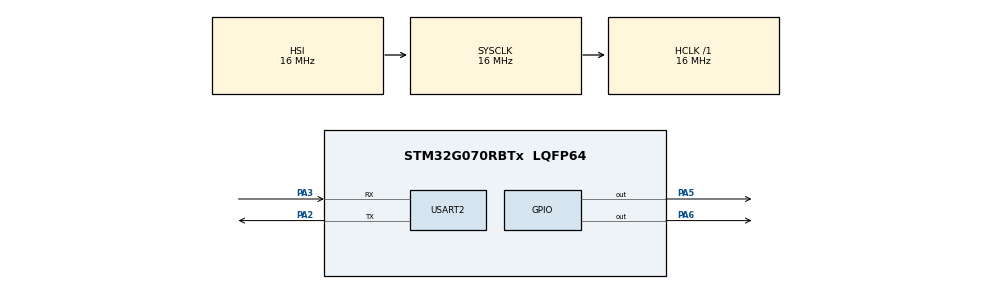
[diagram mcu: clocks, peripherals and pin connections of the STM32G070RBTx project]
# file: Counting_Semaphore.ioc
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Mcu.Family=STM32G0
Mcu.Name=STM32G070RBTx
Mcu.Package=LQFP64
NVIC.TIM3_IRQn=true\:3\:0\:false\:false\:true\:false\:true\:true
NVIC.TimeBase=TIM3_IRQn
NVIC.TimeBaseIP=TIM3
PA13.Mode=Serial_Wire
PA13.Signal=SYS_SWDIO
PA14-BOOT0.Mode=Serial_Wire
PA14-BOOT0.Signal=SYS_SWCLK
PA2.Mode=Asynchronous
PA2.Signal=USART2_TX
PA3.Mode=Asynchronous
PA3.Signal=USART2_RX
PA5.Signal=GPIO_Output
PA6.Signal=GPIO_Output
PC14-OSC32_IN\ (PC14).Mode=LSE-External-Oscillator
PC14-OSC32_IN\ (PC14).Signal=RCC_OSC32_IN
PC15-OSC32_OUT\ (PC15).Mode=LSE-External-Oscillator
PC15-OSC32_OUT\ (PC15).Signal=RCC_OSC32_OUT
PF0-OSC_IN\ (PF0).Mode=HSE-External-Clock-Source
PF0-OSC_IN\ (PF0).Signal=RCC_OSC_IN
ProjectManager.HeapSize=0x200
ProjectManager.StackSize=0x400
ProjectManager.TargetToolchain=STM32CubeIDE
RCC.AHBFreq_Value=16000000
RCC.CortexFreq_Value=16000000
RCC.EXTERNAL_CLOCK_VALUE=12288000
RCC.HCLKFreq_Value=16000000
RCC.HSE_VALUE=8000000
RCC.HSI_VALUE=16000000
RCC.SYSCLKFreq_VALUE=16000000
RCC.VCOOutputFreq_Value=128000000
USART2.VirtualMode-Asynchronous=VM_ASYNC
VP_SYS_VS_tim3.Mode=TIM3
board=NUCLEO-G070RB

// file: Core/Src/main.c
/* USER CODE BEGIN Header */
/**
  ******************************************************************************
  * @file           : main.c
  * @brief          : Main program body
  ******************************************************************************
  * @attention
  *
  * Copyright (c) 2023 STMicroelectronics.
  * All rights reserved.
  *
  * This software is licensed under terms that can be found in the LICENSE file
  * in the root directory of this software component.
  * If no LICENSE file comes with this software, it is provided AS-IS.
  *
  ******************************************************************************
  */
/* USER CODE END Header */
#include "main.h"

/* USER CODE BEGIN Includes */

#include "FreeRTOS.h"
#include "semphr.h"
#include "task.h"

/* USER CODE END Includes */

UART_HandleTypeDef huart2;

/* USER CODE BEGIN PV */
unsigned int count=0;
TaskHandle_t pt, ct;
SemaphoreHandle_t Count_sem;

/* USER CODE END PV */

void SystemClock_Config(void);
static void MX_GPIO_Init(void);
static void MX_USART2_UART_Init(void);
/* USER CODE BEGIN PFP */
void delay (unsigned int a);
static void ptask (void *p) ;
static void ctask (void *p) ;

/* USER CODE END PFP */

/* USER CODE BEGIN 0 */
void delay (unsigned int a)
{
unsigned int i,j;

for (i = 0 ; i < a ; i++)
	for (j = 0 ; j<5000 ;j++);
}

void transmit1 (void)
{
uint8_t data [] = "PTASK IS RUNNING\r\n";
HAL_UART_Transmit (&huart2, data, sizeof (data), 1000);
}

void transmit2 (void)
{
uint8_t data[] = "CTASK IS RUNNING\r\n";
HAL_UART_Transmit (&huart2, data, sizeof (data), 1000);
}

static void ptask (void *p)
{
while (1)
{
	HAL_GPIO_TogglePin (GPIOA, GPIO_PIN_5);
	delay (100) ;

transmit1 ();

if (count == 6)
{
	for(unsigned int c =0 ; c < 4 ; c++)
		xSemaphoreGive (Count_sem) ;
/*xSemaphoreGive (Count_sem) ;
xSemaphoreGive (Count_sem) ;
xSemaphoreGive (Count_sem) ;*/
}
count ++;
}
}

static void ctask (void *p)
{
uint8_t ret;
while (1)
{
ret = xSemaphoreTake (Count_sem, 100000) ;
if (ret)
{
HAL_GPIO_TogglePin (GPIOA, GPIO_PIN_6);
delay (100);
transmit2 ();

count = 0;
}
}
}

/* USER CODE END 0 */

int main(void)
{
  /* USER CODE BEGIN 1 */
	Count_sem = xSemaphoreCreateCounting (6, 0) ;

  /* USER CODE END 1 */

  /* MCU Configuration--------------------------------------------------------*/

  /* Reset of all peripherals, Initializes the Flash interface and the Systick. */
  HAL_Init();

  /* Configure the system clock */
  SystemClock_Config();

  /* Initialize all configured peripherals */
  MX_GPIO_Init();
  MX_USART2_UART_Init();
  /* USER CODE BEGIN 2 */
  xTaskCreate(ptask,"T1",500, NULL, 1, &pt);
  xTaskCreate(ctask,"T2",500, NULL, 2, &ct);
      //xTaskCreate(IDLE_TASK,"T3",200, NULL, 2, &t3);

      //xSemaphoreGive(BinSem);

    vTaskStartScheduler();

  /* USER CODE END 2 */

  /* Infinite loop */
  while (1)
  {

  }
}

void SystemClock_Config(void)
{
  RCC_OscInitTypeDef RCC_OscInitStruct = {0};
  RCC_ClkInitTypeDef RCC_ClkInitStruct = {0};

  /** Configure the main internal regulator output voltage
  */
  HAL_PWREx_ControlVoltageScaling(PWR_REGULATOR_VOLTAGE_SCALE1);

  /** Initializes the RCC Oscillators according to the specified parameters
  * in the RCC_OscInitTypeDef structure.
  */
  RCC_OscInitStruct.OscillatorType = RCC_OSCILLATORTYPE_HSI;
  RCC_OscInitStruct.HSIState = RCC_HSI_ON;
  RCC_OscInitStruct.HSIDiv = RCC_HSI_DIV1;
  RCC_OscInitStruct.HSICalibrationValue = RCC_HSICALIBRATION_DEFAULT;
  RCC_OscInitStruct.PLL.PLLState = RCC_PLL_NONE;
  if (HAL_RCC_OscConfig(&RCC_OscInitStruct) != HAL_OK)
  {
    Error_Handler();
  }

  /** Initializes the CPU, AHB and APB buses clocks
  */
  RCC_ClkInitStruct.ClockType = RCC_CLOCKTYPE_HCLK|RCC_CLOCKTYPE_SYSCLK
                              |RCC_CLOCKTYPE_PCLK1;
  RCC_ClkInitStruct.SYSCLKSource = RCC_SYSCLKSOURCE_HSI;
  RCC_ClkInitStruct.AHBCLKDivider = RCC_SYSCLK_DIV1;
  RCC_ClkInitStruct.APB1CLKDivider = RCC_HCLK_DIV1;

  if (HAL_RCC_ClockConfig(&RCC_ClkInitStruct, FLASH_LATENCY_0) != HAL_OK)
  {
    Error_Handler();
  }
}

static void MX_USART2_UART_Init(void)
{

  huart2.Instance = USART2;
  huart2.Init.BaudRate = 115200;
  huart2.Init.WordLength = UART_WORDLENGTH_8B;
  huart2.Init.StopBits = UART_STOPBITS_1;
  huart2.Init.Parity = UART_PARITY_NONE;
  huart2.Init.Mode = UART_MODE_TX_RX;
  huart2.Init.HwFlowCtl = UART_HWCONTROL_NONE;
  huart2.Init.OverSampling = UART_OVERSAMPLING_16;
  huart2.Init.OneBitSampling = UART_ONE_BIT_SAMPLE_DISABLE;
  huart2.Init.ClockPrescaler = UART_PRESCALER_DIV1;
  huart2.AdvancedInit.AdvFeatureInit = UART_ADVFEATURE_NO_INIT;
  if (HAL_UART_Init(&huart2) != HAL_OK)
  {
    Error_Handler();
  }
  if (HAL_UARTEx_SetTxFifoThreshold(&huart2, UART_TXFIFO_THRESHOLD_1_8) != HAL_OK)
  {
    Error_Handler();
  }
  if (HAL_UARTEx_SetRxFifoThreshold(&huart2, UART_RXFIFO_THRESHOLD_1_8) != HAL_OK)
  {
    Error_Handler();
  }
  if (HAL_UARTEx_DisableFifoMode(&huart2) != HAL_OK)
  {
    Error_Handler();
  }

}

static void MX_GPIO_Init(void)
{
  GPIO_InitTypeDef GPIO_InitStruct = {0};

  /* GPIO Ports Clock Enable */
  __HAL_RCC_GPIOC_CLK_ENABLE();
  __HAL_RCC_GPIOF_CLK_ENABLE();
  __HAL_RCC_GPIOA_CLK_ENABLE();

  /*Configure GPIO pin Output Level */
  HAL_GPIO_WritePin(GPIOA, GPIO_PIN_5|GPIO_PIN_6, GPIO_PIN_RESET);

  /*Configure GPIO pins : PA5 PA6 */
  GPIO_InitStruct.Pin = GPIO_PIN_5|GPIO_PIN_6;
  GPIO_InitStruct.Mode = GPIO_MODE_OUTPUT_PP;
  GPIO_InitStruct.Pull = GPIO_NOPULL;
  GPIO_InitStruct.Speed = GPIO_SPEED_FREQ_LOW;
  HAL_GPIO_Init(GPIOA, &GPIO_InitStruct);

}

void HAL_TIM_PeriodElapsedCallback(TIM_HandleTypeDef *htim)
{
  if (htim->Instance == TIM3) {
    HAL_IncTick();
  }
}

void Error_Handler(void)
{
  __disable_irq();
  while (1)
  {
  }
}
